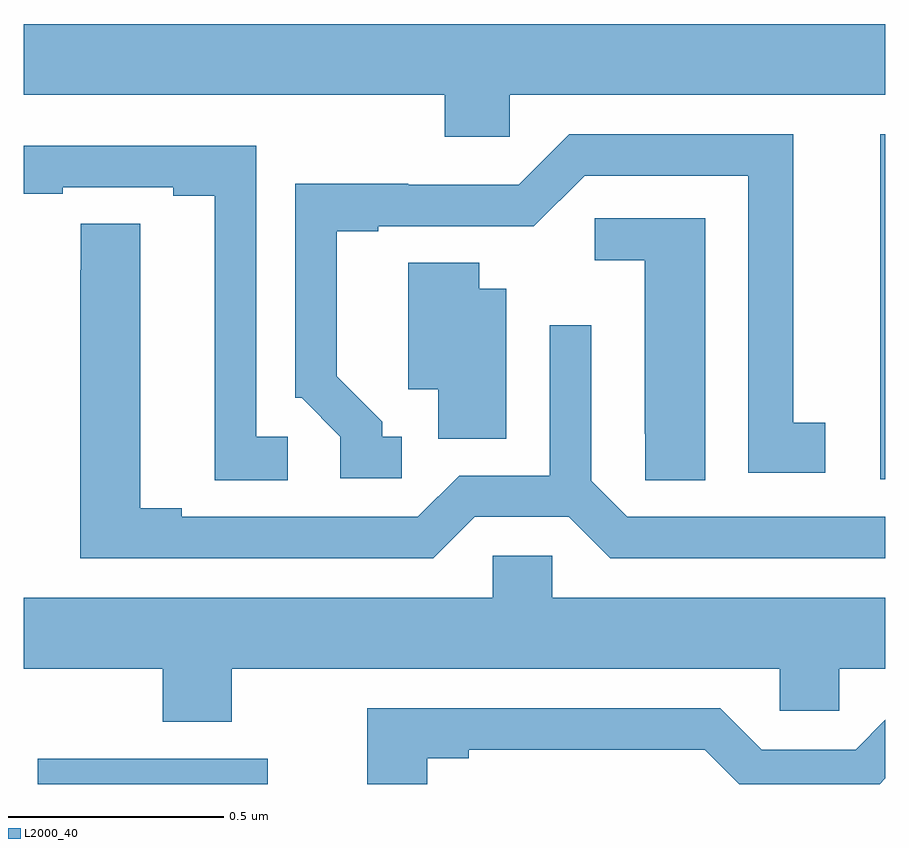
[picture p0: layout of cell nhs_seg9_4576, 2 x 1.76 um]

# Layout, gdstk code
import gdstk
lib = gdstk.Library(unit=1e-6, precision=1e-09)
def R(c, l, rs):  # rectangles x0, y0, x1, y1
    for r in rs: c.add(gdstk.rectangle(r[:2], r[2:], *l))
def P(c, l, *ps):  # polygons
    for p in ps: c.add(gdstk.Polygon(p, *l))
L2000_40 = (2000, 40)

nhs_seg9_4576 = lib.new_cell('nhs_seg9_4576')
R(nhs_seg9_4576, L2000_40, [(168.033,1181.5,168.567,1181.559), (169.988,1182.207,170,1183.008)])
P(nhs_seg9_4576, L2000_40, [(169.128,1183.1),(170,1183.1),(170,1183.264),(168,1183.264),(168,1183.1),(168.977,1183.1),(168.977,1183.002),(169.128,1183.002)],
  [(168.877,1182.306),(168.832,1182.306),(168.832,1182.341),(168.727,1182.446),(168.727,1182.783),(168.823,1182.783),(168.823,1182.795),(169.088,1182.795),(169.088,1182.794),(169.184,1182.794),(169.302,1182.912),(169.682,1182.912),(169.682,1182.222),(169.861,1182.222),(169.861,1182.338),(169.786,1182.338),(169.786,1183.008),(169.266,1183.008),(169.149,1182.891),(168.893,1182.891),(168.893,1182.893),(168.63,1182.893),(168.63,1182.396),(168.645,1182.396),(168.735,1182.306),(168.735,1182.21),(168.877,1182.21)],
  [(168.613,1182.306),(168.54,1182.306),(168.54,1182.981),(168,1182.981),(168,1182.87),(168.091,1182.87),(168.091,1182.885),(168.347,1182.885),(168.347,1182.865),(168.443,1182.865),(168.443,1182.205),(168.613,1182.205)],
  [(169.582,1182.813),(169.326,1182.813),(169.326,1182.716),(169.442,1182.716),(169.442,1182.313),(169.443,1182.313),(169.443,1182.205),(169.582,1182.205)],
  [(169.047,1182.12),(169.265,1182.12),(169.361,1182.024),(170,1182.024),(170,1182.12),(169.401,1182.12),(169.317,1182.204),(169.317,1182.565),(169.221,1182.565),(169.221,1182.216),(169.011,1182.216),(168.915,1182.12),(168.367,1182.12),(168.367,1182.14),(168.271,1182.14),(168.271,1182.8),(168.132,1182.8),(168.132,1182.692),(168.131,1182.692),(168.131,1182.024),(168.951,1182.024)],
  [(169.12,1182.649),(169.057,1182.649),(169.057,1182.71),(168.893,1182.71),(168.893,1182.416),(168.962,1182.416),(168.962,1182.301),(169.12,1182.301)],
  [(168.483,1181.768),(169.755,1181.768),(169.755,1181.67),(169.893,1181.67),(169.893,1181.768),(170,1181.768),(170,1181.932),(169.227,1181.932),(169.227,1182.03),(169.089,1182.03),(169.089,1181.932),(168,1181.932),(168,1181.768),(168.323,1181.768),(168.323,1181.644),(168.483,1181.644)],
  [(168.937,1181.56),(169.033,1181.56),(169.033,1181.58),(169.581,1181.58),(169.661,1181.5),(169.987,1181.5),(170,1181.513),(170,1181.649),(169.931,1181.58),(169.713,1181.58),(169.617,1181.676),(168.797,1181.676),(168.797,1181.5),(168.937,1181.5)])

lib.write_gds('nhs_seg9_4576.gds')
